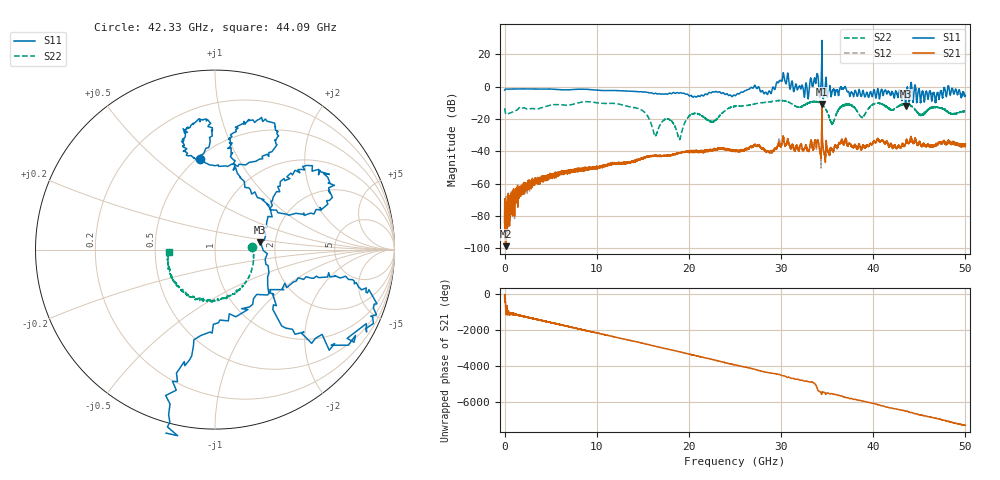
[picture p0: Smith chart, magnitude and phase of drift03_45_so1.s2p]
!Created with skrf (http://scikit-rf.org).
# Hz S RI R 50.0
!freq ReS11 ImS11 ReS21 ImS21 ReS12 ImS12 ReS22 ImS22
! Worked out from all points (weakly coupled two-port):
!   10000 points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, 5.3 MHz to 50 GHz, reference 50 ohm
!   highest |S21| = -10.64 dB at 34.43 GHz (marker M1); lowest = -98.7 dB at 175.3 MHz (marker M2)
!   lowest |S11| = -11.8 dB at 43.52 GHz (marker M3), VSWR 1.69, Z = 83.3 + j7.65 ohm
!   |S11| at or under -10 dB: 43.48804 GHz to 43.54204 GHz (54 MHz wide, 0.124 % of centre)
!   |S22| runs from -32.7 to -8.4 dB; largest |S21 - S12| = 0.089
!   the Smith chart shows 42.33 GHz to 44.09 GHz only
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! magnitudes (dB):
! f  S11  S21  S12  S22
! 5.3 MHz  -2.1  -84.0  -71.0  -13.3
! 175.3 MHz  -1.4  -98.7  -72.1  -17.0
! 2.48 GHz  -1.4  -59.6  -61.5  -13.8
! 8.34 GHz  -1.5  -51.3  -51.3  -9.5
! 14.55 GHz  -3.1  -45.1  -45.2  -13.5
! 16.67 GHz  -4.4  -42.8  -42.5  -26.2
! 17.8 GHz  -4.2  -42.5  -42.7  -20.1
! 18.98 GHz  -3.9  -40.8  -41.2  -32.6
! 20.29 GHz  -5.6  -39.5  -40.2  -17.1
! 22.58 GHz  -3.1  -38.9  -39.2  -21.7
! 25.01 GHz  -5.5  -40.0  -39.9  -12.2
! 28.72 GHz  -2.5  -40.4  -40.3  -9.3
! 30.14 GHz  4.4  -33.4  -33.8  -8.5
! 32.74 GHz  2.0  -37.1  -36.6  -10.8
! 33.34 GHz  2.6  -34.8  -35.1  -9.3
! 34.43 GHz  28.7  -10.6  -12.6  -10.8
! 35.55 GHz  -2.9  -38.7  -39.1  -22.9
! 37 GHz  -0.2  -32.4  -32.4  -11.0
! 38.78 GHz  -4.9  -38.3  -37.9  -19.0
! 41.67 GHz  -2.9  -36.6  -36.9  -13.3
! 43.52 GHz  -11.8  -35.3  -35.2  -10.8
! 50 GHz  -5.3  -35.5  -36.1  -15.4
